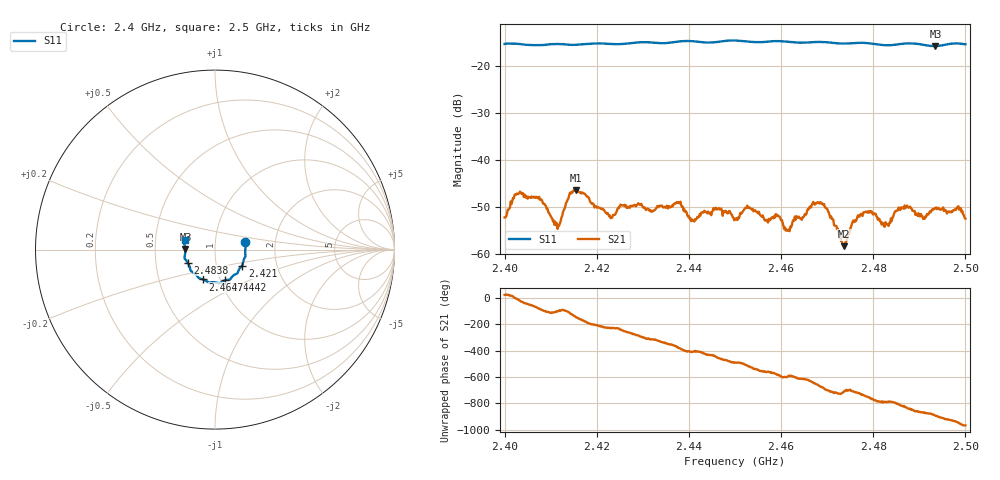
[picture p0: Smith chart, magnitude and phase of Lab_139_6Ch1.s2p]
# Hz S RI R 50
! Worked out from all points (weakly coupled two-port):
!   601 points, 2.4 GHz to 2.5 GHz, reference 50 ohm
!   highest |S21| = -46.29 dB at 2.4155 GHz (marker M1); lowest = -58.3 dB at 2.4737 GHz (marker M2)
!   lowest |S11| = -15.7 dB at 2.4935 GHz (marker M3), VSWR 1.39, Z = 35.8 + j0.187 ohm
!   |S11| at or under -10 dB: start of sweep to end of sweep
!   S12 and S22 are empty: the file has one direction only
!   S11 on the Smith chart (normalised r, x): 2.4 GHz: 1.40, +0.12; 2.421 GHz: 1.33, -0.25; 2.4442 GHz: 1.05, -0.37; 2.4647 GHz: 0.83, -0.28; 2.4838 GHz: 0.73, -0.11; 2.5 GHz: 0.71, +0.08
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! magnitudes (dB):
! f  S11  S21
! 2.4 GHz  -15.2  -52.2
! 2.4035 GHz  -15.3  -46.8
! 2.4077 GHz  -15.5  -48.4
! 2.4117 GHz  -15.2  -53.9
! 2.4155 GHz  -15.4  -46.3
! 2.4167 GHz  -15.3  -47.1
! 2.421 GHz  -15.1  -50.4
! 2.4333 GHz  -15.0  -50.0
! 2.4442 GHz  -14.9  -50.9
! 2.45 GHz  -14.5  -52.4
! 2.453 GHz  -14.7  -50.1
! 2.4613 GHz  -14.7  -55.0
! 2.4647 GHz  -14.9  -52.1
! 2.4667 GHz  -14.8  -49.4
! 2.4695 GHz  -14.8  -50.0
! 2.4737 GHz  -15.1  -58.3
! 2.4783 GHz  -15.0  -50.9
! 2.4833 GHz  -15.5  -54.0
! 2.4838 GHz  -15.5  -52.4
! 2.4868 GHz  -15.1  -49.6
! 2.4935 GHz  -15.7  -50.2
! 2.5 GHz  -15.3  -52.4
